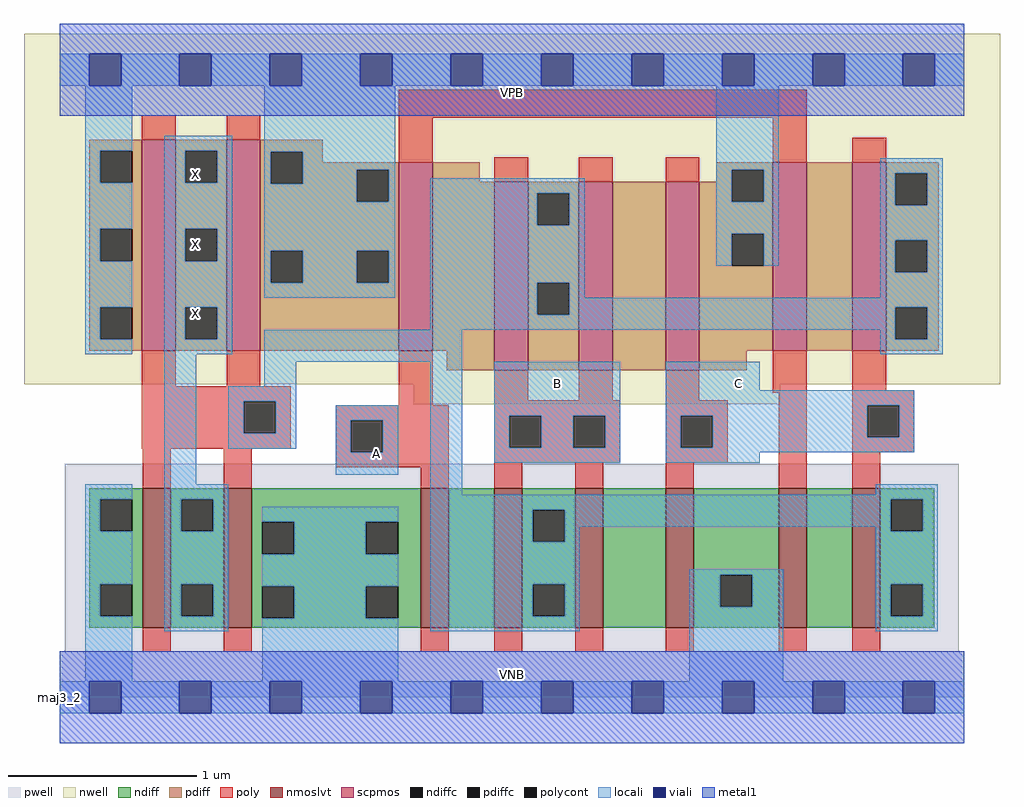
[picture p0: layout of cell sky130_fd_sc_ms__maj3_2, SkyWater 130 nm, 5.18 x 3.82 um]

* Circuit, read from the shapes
.subckt sky130_fd_sc_ms__maj3_2 A B C VGND VNB VPB VPWR X
XM1 X n1 VGND VNB sky130_fd_pr__nfet_01v8_lvt w=0.74 l=0.15 m=2
XM2 n2 A VGND VNB sky130_fd_pr__nfet_01v8_lvt w=0.74 l=0.15
XM3 n1 B n2 VNB sky130_fd_pr__nfet_01v8_lvt w=0.74 l=0.15
XM4 n3 B n1 VNB sky130_fd_pr__nfet_01v8_lvt w=0.74 l=0.15
XM5 VGND C n3 VNB sky130_fd_pr__nfet_01v8_lvt w=0.74 l=0.15
XM6 n4 A VGND VNB sky130_fd_pr__nfet_01v8_lvt w=0.74 l=0.15
XM7 n1 C n4 VNB sky130_fd_pr__nfet_01v8_lvt w=0.74 l=0.15
XM8 X n1 VPWR VPB sky130_fd_pr__pfet_01v8 w=1.12 l=0.18 m=2
XM9 n5 A VPWR VPB sky130_fd_pr__pfet_01v8 w=1 l=0.18
XM10 n1 B n5 VPB sky130_fd_pr__pfet_01v8 w=1 l=0.18
XM11 n6 B n1 VPB sky130_fd_pr__pfet_01v8 w=1 l=0.18
XM12 VPWR C n6 VPB sky130_fd_pr__pfet_01v8 w=1 l=0.18
XM13 n7 A VPWR VPB sky130_fd_pr__pfet_01v8 w=1 l=0.18
XM14 n1 C n7 VPB sky130_fd_pr__pfet_01v8 w=1 l=0.18
.ends

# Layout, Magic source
magic
tech sky130A
magscale 1 2
<< nwell >>
rect -38 332 998 704
rect 375 311 765 332
<< pwell >>
rect 5 49 954 248
rect 0 0 960 49
<< scpmos >>
rect 87 368 123 592
rect 177 368 213 592
rect 360 368 396 568
rect 461 347 497 547
rect 551 347 587 547
rect 643 347 679 547
rect 757 368 793 568
rect 841 368 877 568
<< nmoslvt >>
rect 88 74 118 222
rect 174 74 204 222
rect 383 74 413 222
rect 461 74 491 222
rect 547 74 577 222
rect 643 74 673 222
rect 763 74 793 222
rect 841 74 871 222
<< ndiff >>
rect 31 210 88 222
rect 31 176 43 210
rect 77 176 88 210
rect 31 120 88 176
rect 31 86 43 120
rect 77 86 88 120
rect 31 74 88 86
rect 118 210 174 222
rect 118 176 129 210
rect 163 176 174 210
rect 118 120 174 176
rect 118 86 129 120
rect 163 86 174 120
rect 118 74 174 86
rect 204 186 383 222
rect 204 152 215 186
rect 249 152 325 186
rect 359 152 383 186
rect 204 118 383 152
rect 204 84 215 118
rect 249 84 325 118
rect 359 84 383 118
rect 204 74 383 84
rect 413 74 461 222
rect 491 199 547 222
rect 491 165 502 199
rect 536 165 547 199
rect 491 120 547 165
rect 491 86 502 120
rect 536 86 547 120
rect 491 74 547 86
rect 577 74 643 222
rect 673 130 763 222
rect 673 96 701 130
rect 735 96 763 130
rect 673 74 763 96
rect 793 74 841 222
rect 871 210 928 222
rect 871 176 882 210
rect 916 176 928 210
rect 871 120 928 176
rect 871 86 882 120
rect 916 86 928 120
rect 871 74 928 86
<< pdiff >>
rect 31 580 87 592
rect 31 546 43 580
rect 77 546 87 580
rect 31 497 87 546
rect 31 463 43 497
rect 77 463 87 497
rect 31 414 87 463
rect 31 380 43 414
rect 77 380 87 414
rect 31 368 87 380
rect 123 580 177 592
rect 123 546 133 580
rect 167 546 177 580
rect 123 497 177 546
rect 123 463 133 497
rect 167 463 177 497
rect 123 414 177 463
rect 123 380 133 414
rect 167 380 177 414
rect 123 368 177 380
rect 213 579 279 592
rect 213 545 224 579
rect 258 568 279 579
rect 258 560 360 568
rect 258 545 315 560
rect 213 526 315 545
rect 349 526 360 560
rect 213 474 360 526
rect 213 440 224 474
rect 258 440 315 474
rect 349 440 360 474
rect 213 368 360 440
rect 396 547 446 568
rect 697 560 757 568
rect 697 547 713 560
rect 396 368 461 547
rect 411 347 461 368
rect 497 535 551 547
rect 497 501 507 535
rect 541 501 551 535
rect 497 440 551 501
rect 497 406 507 440
rect 541 406 551 440
rect 497 347 551 406
rect 587 347 643 547
rect 679 526 713 547
rect 747 526 757 560
rect 679 492 757 526
rect 679 458 713 492
rect 747 458 757 492
rect 679 368 757 458
rect 793 368 841 568
rect 877 556 933 568
rect 877 522 887 556
rect 921 522 933 556
rect 877 485 933 522
rect 877 451 887 485
rect 921 451 933 485
rect 877 414 933 451
rect 877 380 887 414
rect 921 380 933 414
rect 877 368 933 380
rect 679 347 729 368
<< ndiffc >>
rect 43 176 77 210
rect 43 86 77 120
rect 129 176 163 210
rect 129 86 163 120
rect 215 152 249 186
rect 325 152 359 186
rect 215 84 249 118
rect 325 84 359 118
rect 502 165 536 199
rect 502 86 536 120
rect 701 96 735 130
rect 882 176 916 210
rect 882 86 916 120
<< pdiffc >>
rect 43 546 77 580
rect 43 463 77 497
rect 43 380 77 414
rect 133 546 167 580
rect 133 463 167 497
rect 133 380 167 414
rect 224 545 258 579
rect 315 526 349 560
rect 224 440 258 474
rect 315 440 349 474
rect 507 501 541 535
rect 507 406 541 440
rect 713 526 747 560
rect 713 458 747 492
rect 887 522 921 556
rect 887 451 921 485
rect 887 380 921 414
<< poly >>
rect 87 592 123 618
rect 177 592 213 618
rect 360 615 793 645
rect 360 568 396 615
rect 461 547 497 573
rect 551 547 587 573
rect 643 547 679 573
rect 757 568 793 615
rect 841 568 877 594
rect 87 330 123 368
rect 177 330 213 368
rect 87 314 245 330
rect 87 280 195 314
rect 229 280 245 314
rect 360 310 396 368
rect 461 315 497 347
rect 551 315 587 347
rect 643 315 679 347
rect 757 323 793 368
rect 87 264 245 280
rect 293 294 413 310
rect 88 222 118 264
rect 174 222 204 264
rect 293 260 309 294
rect 343 260 413 294
rect 293 244 413 260
rect 383 222 413 244
rect 461 299 595 315
rect 461 265 477 299
rect 511 265 545 299
rect 579 265 595 299
rect 461 249 595 265
rect 643 299 709 315
rect 643 265 659 299
rect 693 265 709 299
rect 643 249 709 265
rect 461 222 491 249
rect 547 222 577 249
rect 643 222 673 249
rect 763 222 793 323
rect 841 326 877 368
rect 841 310 907 326
rect 841 276 857 310
rect 891 276 907 310
rect 841 260 907 276
rect 841 222 871 260
rect 88 48 118 74
rect 174 48 204 74
rect 383 48 413 74
rect 461 48 491 74
rect 547 48 577 74
rect 643 48 673 74
rect 763 48 793 74
rect 841 48 871 74
<< polycont >>
rect 195 280 229 314
rect 309 260 343 294
rect 477 265 511 299
rect 545 265 579 299
rect 659 265 693 299
rect 857 276 891 310
<< locali >>
rect 0 649 31 683
rect 65 649 127 683
rect 161 649 223 683
rect 257 649 319 683
rect 353 649 415 683
rect 449 649 511 683
rect 545 649 607 683
rect 641 649 703 683
rect 737 649 799 683
rect 833 649 895 683
rect 929 649 960 683
rect 27 580 77 649
rect 27 546 43 580
rect 27 497 77 546
rect 27 463 43 497
rect 27 414 77 463
rect 27 380 43 414
rect 27 364 77 380
rect 111 580 183 596
rect 111 546 133 580
rect 167 546 183 580
rect 111 497 183 546
rect 111 463 133 497
rect 167 463 183 497
rect 111 414 183 463
rect 217 579 356 649
rect 217 545 224 579
rect 258 560 356 579
rect 258 545 315 560
rect 217 526 315 545
rect 349 526 356 560
rect 697 560 763 649
rect 217 474 356 526
rect 217 440 224 474
rect 258 440 315 474
rect 349 440 356 474
rect 217 424 356 440
rect 393 535 557 551
rect 393 501 507 535
rect 541 501 557 535
rect 393 440 557 501
rect 697 526 713 560
rect 747 526 763 560
rect 697 492 763 526
rect 697 458 713 492
rect 747 458 763 492
rect 871 556 937 572
rect 871 522 887 556
rect 921 522 937 556
rect 871 485 937 522
rect 111 380 133 414
rect 167 380 183 414
rect 393 406 507 440
rect 541 424 557 440
rect 871 451 887 485
rect 921 451 937 485
rect 871 424 937 451
rect 541 414 937 424
rect 541 406 887 414
rect 393 390 887 406
rect 111 364 183 380
rect 111 226 145 364
rect 217 356 427 390
rect 871 380 887 390
rect 921 380 937 414
rect 871 364 937 380
rect 217 330 251 356
rect 179 314 251 330
rect 179 280 195 314
rect 229 280 251 314
rect 179 264 251 280
rect 293 294 359 310
rect 293 260 309 294
rect 343 260 359 294
rect 293 236 359 260
rect 27 210 77 226
rect 27 176 43 210
rect 27 120 77 176
rect 27 86 43 120
rect 27 17 77 86
rect 111 210 179 226
rect 111 176 129 210
rect 163 176 179 210
rect 393 215 427 356
rect 461 299 595 356
rect 461 265 477 299
rect 511 265 545 299
rect 579 265 595 299
rect 461 249 595 265
rect 643 326 743 356
rect 643 310 907 326
rect 643 299 857 310
rect 643 265 659 299
rect 693 276 857 299
rect 891 276 907 310
rect 693 265 907 276
rect 643 260 907 265
rect 643 249 743 260
rect 866 215 932 226
rect 393 210 932 215
rect 111 120 179 176
rect 111 86 129 120
rect 163 86 179 120
rect 111 70 179 86
rect 215 186 359 202
rect 249 152 325 186
rect 215 118 359 152
rect 249 84 325 118
rect 215 17 359 84
rect 393 199 882 210
rect 393 165 502 199
rect 536 181 882 199
rect 536 165 552 181
rect 393 120 552 165
rect 866 176 882 181
rect 916 176 932 210
rect 393 86 502 120
rect 536 86 552 120
rect 393 70 552 86
rect 668 130 768 136
rect 668 96 701 130
rect 735 96 768 130
rect 668 17 768 96
rect 866 120 932 176
rect 866 86 882 120
rect 916 86 932 120
rect 866 70 932 86
rect 0 -17 31 17
rect 65 -17 127 17
rect 161 -17 223 17
rect 257 -17 319 17
rect 353 -17 415 17
rect 449 -17 511 17
rect 545 -17 607 17
rect 641 -17 703 17
rect 737 -17 799 17
rect 833 -17 895 17
rect 929 -17 960 17
<< viali >>
rect 31 649 65 683
rect 127 649 161 683
rect 223 649 257 683
rect 319 649 353 683
rect 415 649 449 683
rect 511 649 545 683
rect 607 649 641 683
rect 703 649 737 683
rect 799 649 833 683
rect 895 649 929 683
rect 31 -17 65 17
rect 127 -17 161 17
rect 223 -17 257 17
rect 319 -17 353 17
rect 415 -17 449 17
rect 511 -17 545 17
rect 607 -17 641 17
rect 703 -17 737 17
rect 799 -17 833 17
rect 895 -17 929 17
<< metal1 >>
rect 0 683 960 715
rect 0 649 31 683
rect 65 649 127 683
rect 161 649 223 683
rect 257 649 319 683
rect 353 649 415 683
rect 449 649 511 683
rect 545 649 607 683
rect 641 649 703 683
rect 737 649 799 683
rect 833 649 895 683
rect 929 649 960 683
rect 0 617 960 649
rect 0 17 960 49
rect 0 -17 31 17
rect 65 -17 127 17
rect 161 -17 223 17
rect 257 -17 319 17
rect 353 -17 415 17
rect 449 -17 511 17
rect 545 -17 607 17
rect 641 -17 703 17
rect 737 -17 799 17
rect 833 -17 895 17
rect 929 -17 960 17
rect 0 -49 960 -17
<< labels >>
flabel pwell s 0 0 960 49 0 FreeSans 200 0 0 0 VNB
port 5 nsew ground bidirectional
flabel nwell s 0 617 960 666 0 FreeSans 200 0 0 0 VPB
port 6 nsew power bidirectional
rlabel comment s 0 0 0 0 4 maj3_2
flabel metal1 s 0 617 960 666 0 FreeSans 340 0 0 0 VPWR
port 7 nsew power bidirectional
flabel metal1 s 0 0 960 49 0 FreeSans 340 0 0 0 VGND
port 4 nsew ground bidirectional
flabel locali s 511 316 545 350 0 FreeSans 340 0 0 0 B
port 2 nsew signal input
flabel locali s 703 316 737 350 0 FreeSans 340 0 0 0 C
port 3 nsew signal input
flabel locali s 127 390 161 424 0 FreeSans 340 0 0 0 X
port 8 nsew signal output
flabel locali s 127 464 161 498 0 FreeSans 340 0 0 0 X
port 8 nsew signal output
flabel locali s 127 538 161 572 0 FreeSans 340 0 0 0 X
port 8 nsew signal output
flabel locali s 319 242 353 276 0 FreeSans 340 0 0 0 A
port 1 nsew signal input
<< properties >>
string LEFsite unit
string LEFclass CORE
string FIXED_BBOX 0 0 960 666
string GDS_FILE $PDKPATH/libs.ref/sky130_fd_sc_ms/gds/sky130_fd_sc_ms.gds
string LEFsymmetry X Y
string GDS_END 3790000
string GDS_START 3782496
<< end >>
